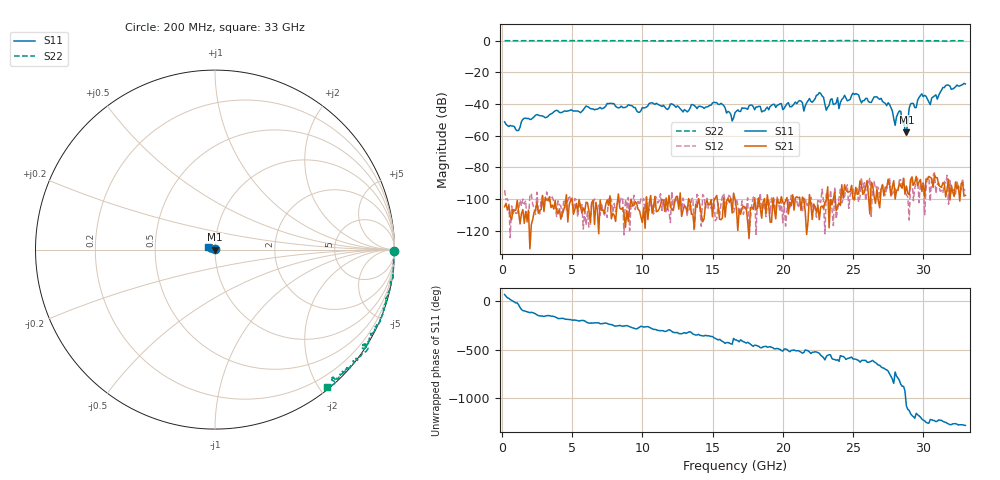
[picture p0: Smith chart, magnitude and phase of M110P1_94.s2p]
# GHZ S RI R 50
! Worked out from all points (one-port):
!   329 points, 200 MHz to 33 GHz, reference 50 ohm
!   lowest |S11| = -57.9 dB at 28.8 GHz (marker M1), VSWR 1.00, Z = 50.1 - j0.00183 ohm
!   |S11| at or under -10 dB: start of sweep to end of sweep
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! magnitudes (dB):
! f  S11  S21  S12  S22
! 200 MHz  -51.3  -105.0  -94.4  0.0
! 1.1 GHz  -56.9  -100.9  -108.8  0.0
! 1.6 GHz  -49.0  -115.4  -103.3  0.0
! 5.7 GHz  -44.7  -108.8  -103.6  0.0
! 11.2 GHz  -40.6  -106.3  -101.1  -0.1
! 16.4 GHz  -50.8  -108.9  -104.3  0.0
! 16.6 GHz  -45.5  -100.2  -104.9  0.0
! 22.1 GHz  -38.9  -113.0  -105.8  0.0
! 22.6 GHz  -32.8  -113.1  -101.6  -0.1
! 23.1 GHz  -43.9  -100.7  -96.6  0.0
! 23.9 GHz  -36.0  -104.7  -106.9  0.0
! 24 GHz  -43.0  -102.6  -99.9  0.1
! 25 GHz  -33.2  -99.8  -93.8  0.0
! 27.6 GHz  -40.3  -90.6  -86.5  0.0
! 28 GHz  -53.5  -100.1  -93.3  -0.1
! 28.4 GHz  -44.6  -91.9  -87.9  -0.1
! 28.8 GHz  -57.9  -91.9  -97.3  -0.1
! 29.1 GHz  -40.0  -87.8  -88.9  -0.1
! 29.9 GHz  -33.6  -95.3  -90.0  -0.1
! 30.5 GHz  -40.4  -86.4  -101.5  0.0
! 31.6 GHz  -28.4  -98.7  -90.0  -0.2
! 33 GHz  -27.4  -97.7  -94.3  -0.1
